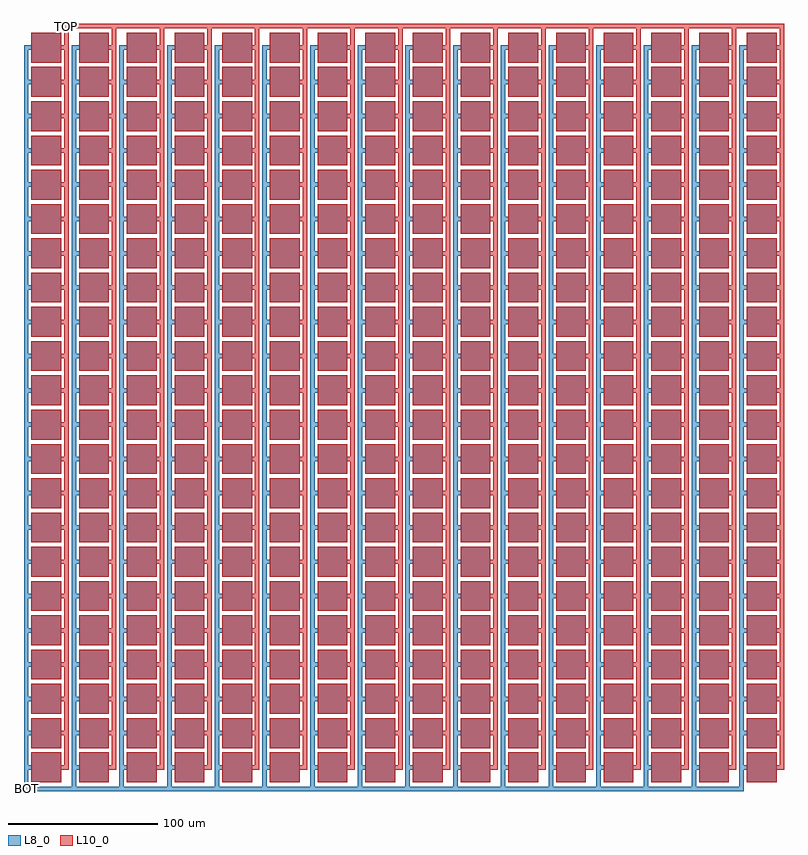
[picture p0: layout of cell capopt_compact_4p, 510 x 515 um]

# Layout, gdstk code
import gdstk
lib = gdstk.Library(unit=1e-6, precision=1e-09)
def R(c, l, rs):  # rectangles x0, y0, x1, y1
    for r in rs: c.add(gdstk.rectangle(r[:2], r[2:], *l))
def A(c, l, x, y, w, h, nx, ny, dx, dy):  # array of equal rectangles
    R(c, l, [(x+i*dx, y+j*dy, x+i*dx+w, y+j*dy+h) for i in range(nx) for j in range(ny)])
L8_0 = (8, 0)
L10_0 = (10, 0)

capopt_compact_4p = lib.new_cell('capopt_compact_4p')
A(capopt_compact_4p, L8_0, -5, -6, 3, 500.5, 16, 1, 32, 0)
A(capopt_compact_4p, L8_0, 0, 0, 20, 20, 16, 22, 32, 23)
A(capopt_compact_4p, L8_0, -5, 8.5, 5, 3, 16, 22, 32, 23)
R(capopt_compact_4p, L8_0, [(-5,-6,478,-3)])
A(capopt_compact_4p, L10_0, 0, 0, 20, 20, 16, 22, 32, 23)
A(capopt_compact_4p, L10_0, 20, 8.5, 5, 3, 16, 22, 32, 23)
A(capopt_compact_4p, L10_0, 22, 8.5, 3, 500.5, 16, 1, 32, 0)
R(capopt_compact_4p, L10_0, [(22,506,505,509)])
capopt_compact_4p.add(gdstk.Label('BOT', (-3.5,-4.5), layer=8, texttype=7))
capopt_compact_4p.add(gdstk.Label('TOP', (23.5,507.5), layer=10, texttype=7))

lib.write_gds('capopt_compact_4p.gds')
